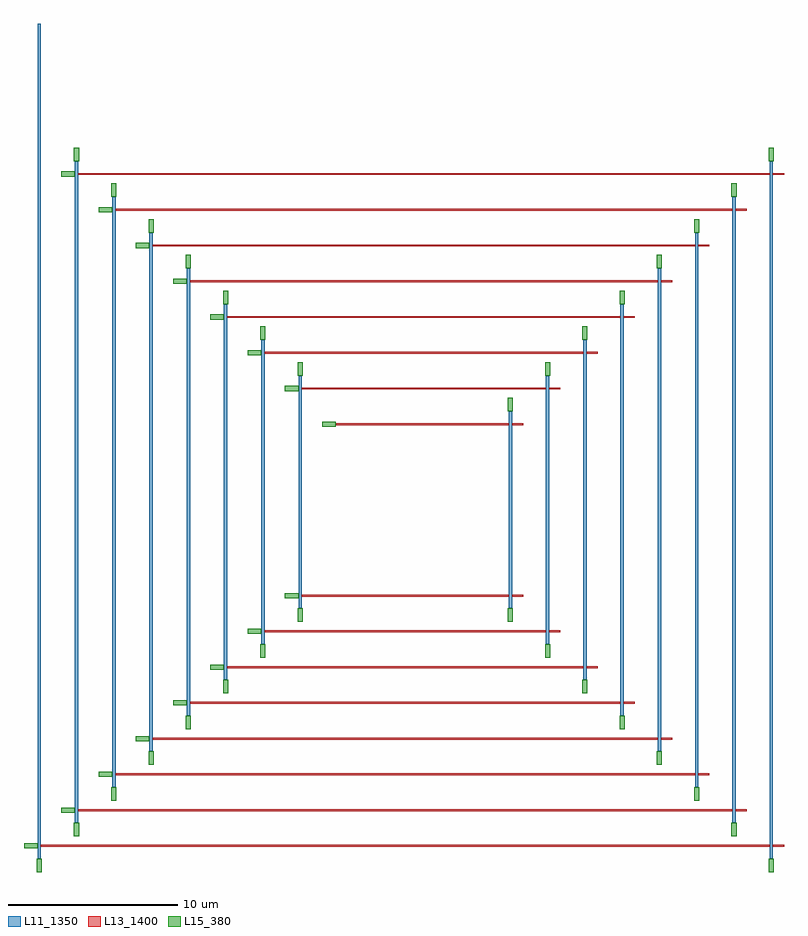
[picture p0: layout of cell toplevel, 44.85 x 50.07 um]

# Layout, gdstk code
import gdstk
lib = gdstk.Library(unit=1e-6, precision=1e-09)
def R(c, l, rs):  # rectangles x0, y0, x1, y1
    for r in rs: c.add(gdstk.rectangle(r[:2], r[2:], *l))
L11_1350 = (11, 1350)
L13_1400 = (13, 1400)
L15_380 = (15, 380)

boolean063 = lib.new_cell('boolean063')
R(boolean063, L13_1400, [(-22.6,-19.88,20.4,-19.77), (20.6,-19.88,21.25,-19.77), (-20.4,-17.77,18.2,-17.66), (18.4,-17.77,19.05,-17.66), (-18.2,-15.66,16,-15.55), (16.2,-15.66,16.85,-15.55), (-16,-13.55,13.8,-13.44), (14,-13.55,14.65,-13.44), (-13.8,-11.44,11.6,-11.33), (11.8,-11.44,12.45,-11.33), (-11.6,-9.33,9.4,-9.22), (9.6,-9.33,10.25,-9.22), (-9.4,-7.22,7.2,-7.11), (7.4,-7.22,8.05,-7.11), (-7.2,-5.11,5,-5), (5.2,-5.11,5.85,-5), (-5.2,5,5,5.11), (5.2,5,5.85,5.11), (-7.2,7.11,7.2,7.22), (7.4,7.11,8.05,7.22), (-9.4,9.22,9.4,9.33), (9.6,9.22,10.25,9.33), (-11.6,11.33,11.6,11.44), (11.8,11.33,12.45,11.44), (-13.8,13.44,13.8,13.55), (14,13.44,14.65,13.55), (-16,15.55,16,15.66), (16.2,15.55,16.85,15.66), (-18.2,17.66,18.2,17.77), (18.4,17.66,19.05,17.77), (-20.4,19.77,20.4,19.88), (20.6,19.77,21.25,19.88)])

rectangle004 = lib.new_cell('rectangle004')
R(rectangle004, L15_380, [(-0.05,-0.8,0.25,0)])

rectangle005 = lib.new_cell('rectangle005')
R(rectangle005, L15_380, [(-0.05,11.62,0.25,12.42)])

rectangle003 = lib.new_cell('rectangle003')
R(rectangle003, L11_1350, [(5,-5.81,5.2,5.81)])
rectangle003.add(gdstk.Reference(rectangle004, (5,-5.81)))
rectangle003.add(gdstk.Reference(rectangle005, (5,-5.81)))

rectangle007 = lib.new_cell('rectangle007')
R(rectangle007, L15_380, [(-0.05,-0.8,0.25,0)])

rectangle008 = lib.new_cell('rectangle008')
R(rectangle008, L15_380, [(-0.05,13.73,0.25,14.53)])

rectangle006 = lib.new_cell('rectangle006')
R(rectangle006, L11_1350, [(-7.4,-5.81,-7.2,7.92)])
rectangle006.add(gdstk.Reference(rectangle007, (-7.4,-5.81)))
rectangle006.add(gdstk.Reference(rectangle008, (-7.4,-5.81)))

rectangle012 = lib.new_cell('rectangle012')
R(rectangle012, L15_380, [(-0.05,-0.8,0.25,0)])

rectangle013 = lib.new_cell('rectangle013')
R(rectangle013, L15_380, [(-0.05,15.84,0.25,16.64)])

rectangle011 = lib.new_cell('rectangle011')
R(rectangle011, L11_1350, [(7.2,-7.92,7.4,7.92)])
rectangle011.add(gdstk.Reference(rectangle012, (7.2,-7.92)))
rectangle011.add(gdstk.Reference(rectangle013, (7.2,-7.92)))

rectangle015 = lib.new_cell('rectangle015')
R(rectangle015, L15_380, [(-0.05,-0.8,0.25,0)])

rectangle016 = lib.new_cell('rectangle016')
R(rectangle016, L15_380, [(-0.05,17.95,0.25,18.75)])

rectangle014 = lib.new_cell('rectangle014')
R(rectangle014, L11_1350, [(-9.6,-7.92,-9.4,10.03)])
rectangle014.add(gdstk.Reference(rectangle015, (-9.6,-7.92)))
rectangle014.add(gdstk.Reference(rectangle016, (-9.6,-7.92)))

rectangle020 = lib.new_cell('rectangle020')
R(rectangle020, L15_380, [(-0.05,-0.8,0.25,0)])

rectangle021 = lib.new_cell('rectangle021')
R(rectangle021, L15_380, [(-0.05,20.06,0.25,20.86)])

rectangle019 = lib.new_cell('rectangle019')
R(rectangle019, L11_1350, [(9.4,-10.03,9.6,10.03)])
rectangle019.add(gdstk.Reference(rectangle020, (9.4,-10.03)))
rectangle019.add(gdstk.Reference(rectangle021, (9.4,-10.03)))

rectangle023 = lib.new_cell('rectangle023')
R(rectangle023, L15_380, [(-0.05,-0.8,0.25,0)])

rectangle024 = lib.new_cell('rectangle024')
R(rectangle024, L15_380, [(-0.05,22.17,0.25,22.97)])

rectangle022 = lib.new_cell('rectangle022')
R(rectangle022, L11_1350, [(-11.8,-10.03,-11.6,12.14)])
rectangle022.add(gdstk.Reference(rectangle023, (-11.8,-10.03)))
rectangle022.add(gdstk.Reference(rectangle024, (-11.8,-10.03)))

rectangle028 = lib.new_cell('rectangle028')
R(rectangle028, L15_380, [(-0.05,-0.8,0.25,0)])

rectangle029 = lib.new_cell('rectangle029')
R(rectangle029, L15_380, [(-0.05,24.28,0.25,25.08)])

rectangle027 = lib.new_cell('rectangle027')
R(rectangle027, L11_1350, [(11.6,-12.14,11.8,12.14)])
rectangle027.add(gdstk.Reference(rectangle028, (11.6,-12.14)))
rectangle027.add(gdstk.Reference(rectangle029, (11.6,-12.14)))

rectangle031 = lib.new_cell('rectangle031')
R(rectangle031, L15_380, [(-0.05,-0.8,0.25,0)])

rectangle032 = lib.new_cell('rectangle032')
R(rectangle032, L15_380, [(-0.05,26.39,0.25,27.19)])

rectangle030 = lib.new_cell('rectangle030')
R(rectangle030, L11_1350, [(-14,-12.14,-13.8,14.25)])
rectangle030.add(gdstk.Reference(rectangle031, (-14,-12.14)))
rectangle030.add(gdstk.Reference(rectangle032, (-14,-12.14)))

rectangle036 = lib.new_cell('rectangle036')
R(rectangle036, L15_380, [(-0.05,-0.8,0.25,0)])

rectangle037 = lib.new_cell('rectangle037')
R(rectangle037, L15_380, [(-0.05,28.5,0.25,29.3)])

rectangle035 = lib.new_cell('rectangle035')
R(rectangle035, L11_1350, [(13.8,-14.25,14,14.25)])
rectangle035.add(gdstk.Reference(rectangle036, (13.8,-14.25)))
rectangle035.add(gdstk.Reference(rectangle037, (13.8,-14.25)))

rectangle039 = lib.new_cell('rectangle039')
R(rectangle039, L15_380, [(-0.05,-0.8,0.25,0)])

rectangle040 = lib.new_cell('rectangle040')
R(rectangle040, L15_380, [(-0.05,30.61,0.25,31.41)])

rectangle038 = lib.new_cell('rectangle038')
R(rectangle038, L11_1350, [(-16.2,-14.25,-16,16.36)])
rectangle038.add(gdstk.Reference(rectangle039, (-16.2,-14.25)))
rectangle038.add(gdstk.Reference(rectangle040, (-16.2,-14.25)))

rectangle044 = lib.new_cell('rectangle044')
R(rectangle044, L15_380, [(-0.05,-0.8,0.25,0)])

rectangle045 = lib.new_cell('rectangle045')
R(rectangle045, L15_380, [(-0.05,32.72,0.25,33.52)])

rectangle043 = lib.new_cell('rectangle043')
R(rectangle043, L11_1350, [(16,-16.36,16.2,16.36)])
rectangle043.add(gdstk.Reference(rectangle044, (16,-16.36)))
rectangle043.add(gdstk.Reference(rectangle045, (16,-16.36)))

rectangle047 = lib.new_cell('rectangle047')
R(rectangle047, L15_380, [(-0.05,-0.8,0.25,0)])

rectangle048 = lib.new_cell('rectangle048')
R(rectangle048, L15_380, [(-0.05,34.83,0.25,35.63)])

rectangle046 = lib.new_cell('rectangle046')
R(rectangle046, L11_1350, [(-18.4,-16.36,-18.2,18.47)])
rectangle046.add(gdstk.Reference(rectangle047, (-18.4,-16.36)))
rectangle046.add(gdstk.Reference(rectangle048, (-18.4,-16.36)))

rectangle052 = lib.new_cell('rectangle052')
R(rectangle052, L15_380, [(-0.05,-0.8,0.25,0)])

rectangle053 = lib.new_cell('rectangle053')
R(rectangle053, L15_380, [(-0.05,36.94,0.25,37.74)])

rectangle051 = lib.new_cell('rectangle051')
R(rectangle051, L11_1350, [(18.2,-18.47,18.4,18.47)])
rectangle051.add(gdstk.Reference(rectangle052, (18.2,-18.47)))
rectangle051.add(gdstk.Reference(rectangle053, (18.2,-18.47)))

rectangle055 = lib.new_cell('rectangle055')
R(rectangle055, L15_380, [(-0.05,-0.8,0.25,0)])

rectangle056 = lib.new_cell('rectangle056')
R(rectangle056, L15_380, [(-0.05,39.05,0.25,39.85)])

rectangle054 = lib.new_cell('rectangle054')
R(rectangle054, L11_1350, [(-20.6,-18.47,-20.4,20.58)])
rectangle054.add(gdstk.Reference(rectangle055, (-20.6,-18.47)))
rectangle054.add(gdstk.Reference(rectangle056, (-20.6,-18.47)))

rectangle060 = lib.new_cell('rectangle060')
R(rectangle060, L15_380, [(-0.05,-0.8,0.25,0)])

rectangle061 = lib.new_cell('rectangle061')
R(rectangle061, L15_380, [(-0.05,41.16,0.25,41.96)])

rectangle059 = lib.new_cell('rectangle059')
R(rectangle059, L11_1350, [(20.4,-20.58,20.6,20.58)])
rectangle059.add(gdstk.Reference(rectangle060, (20.4,-20.58)))
rectangle059.add(gdstk.Reference(rectangle061, (20.4,-20.58)))

boolean = lib.new_cell('boolean')
R(boolean, L11_1350, [(-22.8,-20.58,-22.6,28.69)])

rectangle = lib.new_cell('rectangle')
R(rectangle, L15_380, [(-6,4.905,-5.2,5.205)])

rectangle002 = lib.new_cell('rectangle002')
R(rectangle002, L15_380, [(-8.2,-5.205,-7.4,-4.905)])

rectangle009 = lib.new_cell('rectangle009')
R(rectangle009, L15_380, [(-8.2,7.015,-7.4,7.315)])

rectangle010 = lib.new_cell('rectangle010')
R(rectangle010, L15_380, [(-10.4,-7.315,-9.6,-7.015)])

rectangle017 = lib.new_cell('rectangle017')
R(rectangle017, L15_380, [(-10.4,9.125,-9.6,9.425)])

rectangle018 = lib.new_cell('rectangle018')
R(rectangle018, L15_380, [(-12.6,-9.425,-11.8,-9.125)])

rectangle025 = lib.new_cell('rectangle025')
R(rectangle025, L15_380, [(-12.6,11.235,-11.8,11.535)])

rectangle026 = lib.new_cell('rectangle026')
R(rectangle026, L15_380, [(-14.8,-11.535,-14,-11.235)])

rectangle033 = lib.new_cell('rectangle033')
R(rectangle033, L15_380, [(-14.8,13.345,-14,13.645)])

rectangle034 = lib.new_cell('rectangle034')
R(rectangle034, L15_380, [(-17,-13.645,-16.2,-13.345)])

rectangle041 = lib.new_cell('rectangle041')
R(rectangle041, L15_380, [(-17,15.455,-16.2,15.755)])

rectangle042 = lib.new_cell('rectangle042')
R(rectangle042, L15_380, [(-19.2,-15.755,-18.4,-15.455)])

rectangle049 = lib.new_cell('rectangle049')
R(rectangle049, L15_380, [(-19.2,17.565,-18.4,17.865)])

rectangle050 = lib.new_cell('rectangle050')
R(rectangle050, L15_380, [(-21.4,-17.865,-20.6,-17.565)])

rectangle057 = lib.new_cell('rectangle057')
R(rectangle057, L15_380, [(-21.4,19.675,-20.6,19.975)])

rectangle058 = lib.new_cell('rectangle058')
R(rectangle058, L15_380, [(-23.6,-19.975,-22.8,-19.675)])

rectangle062 = lib.new_cell('rectangle062')
R(rectangle062, L15_380, [(-22.85,-21.38,-22.55,-20.58)])

undercuts = lib.new_cell('Undercuts')
undercuts.add(gdstk.Reference(rectangle, (0,0)))
undercuts.add(gdstk.Reference(rectangle002, (0,0)))
undercuts.add(gdstk.Reference(rectangle009, (0,0)))
undercuts.add(gdstk.Reference(rectangle010, (0,0)))
undercuts.add(gdstk.Reference(rectangle017, (0,0)))
undercuts.add(gdstk.Reference(rectangle018, (0,0)))
undercuts.add(gdstk.Reference(rectangle025, (0,0)))
undercuts.add(gdstk.Reference(rectangle026, (0,0)))
undercuts.add(gdstk.Reference(rectangle033, (0,0)))
undercuts.add(gdstk.Reference(rectangle034, (0,0)))
undercuts.add(gdstk.Reference(rectangle041, (0,0)))
undercuts.add(gdstk.Reference(rectangle042, (0,0)))
undercuts.add(gdstk.Reference(rectangle049, (0,0)))
undercuts.add(gdstk.Reference(rectangle050, (0,0)))
undercuts.add(gdstk.Reference(rectangle057, (0,0)))
undercuts.add(gdstk.Reference(rectangle058, (0,0)))
undercuts.add(gdstk.Reference(rectangle062, (0,0)))

toplevel = lib.new_cell('toplevel')
toplevel.add(gdstk.Reference(boolean063, (0,0)))
toplevel.add(gdstk.Reference(rectangle003, (0,0)))
toplevel.add(gdstk.Reference(rectangle006, (0,0)))
toplevel.add(gdstk.Reference(rectangle011, (0,0)))
toplevel.add(gdstk.Reference(rectangle014, (0,0)))
toplevel.add(gdstk.Reference(rectangle019, (0,0)))
toplevel.add(gdstk.Reference(rectangle022, (0,0)))
toplevel.add(gdstk.Reference(rectangle027, (0,0)))
toplevel.add(gdstk.Reference(rectangle030, (0,0)))
toplevel.add(gdstk.Reference(rectangle035, (0,0)))
toplevel.add(gdstk.Reference(rectangle038, (0,0)))
toplevel.add(gdstk.Reference(rectangle043, (0,0)))
toplevel.add(gdstk.Reference(rectangle046, (0,0)))
toplevel.add(gdstk.Reference(rectangle051, (0,0)))
toplevel.add(gdstk.Reference(rectangle054, (0,0)))
toplevel.add(gdstk.Reference(rectangle059, (0,0)))
toplevel.add(gdstk.Reference(boolean, (0,0)))
toplevel.add(gdstk.Reference(undercuts, (0,0)))

lib.write_gds('toplevel.gds')
